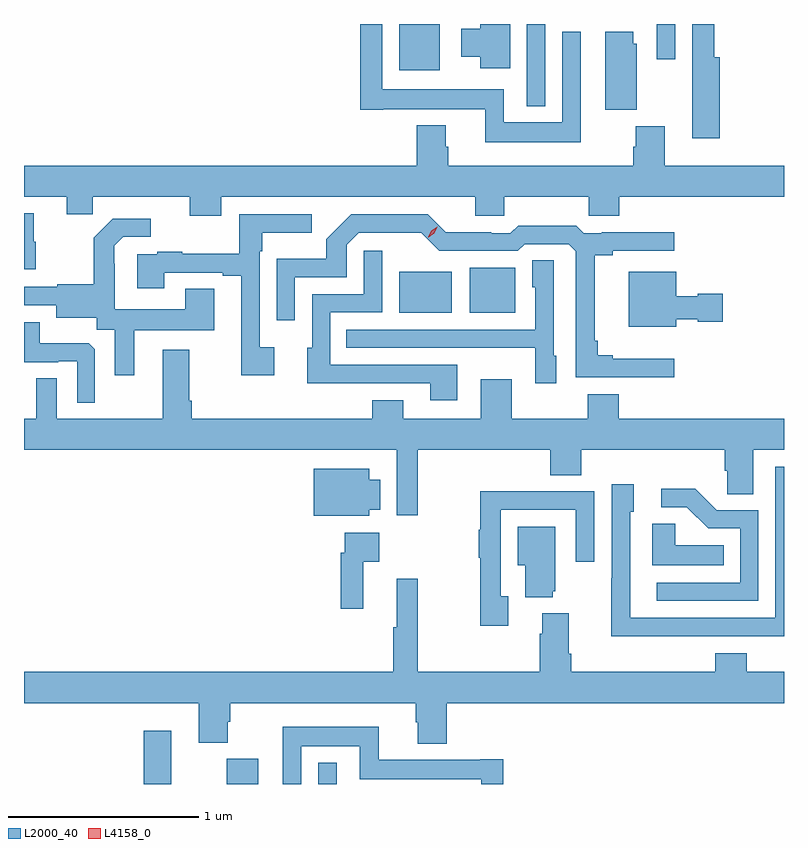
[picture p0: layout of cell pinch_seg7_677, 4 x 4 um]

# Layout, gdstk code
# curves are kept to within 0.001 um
import gdstk
lib = gdstk.Library(unit=1e-6, precision=1e-09)
def R(c, l, rs):  # rectangles x0, y0, x1, y1
    for r in rs: c.add(gdstk.rectangle(r[:2], r[2:], *l))
def P(c, l, *ps):  # polygons
    for p in ps: c.add(gdstk.Polygon(p, *l))
L2000_40 = (2000, 40)
L4158_0 = (4158, 0)

pinch_seg7_677 = lib.new_cell('pinch_seg7_677')
R(pinch_seg7_677, L2000_40, [(253.706,1028.162,253.852,1028.443), (254.144,1028.162,254.308,1028.295), (254.625,1028.162,254.721,1028.275), (255.05,1030.643,255.328,1030.858), (255.422,1030.643,255.661,1030.879), (255.723,1031.729,255.819,1032.162), (255.05,1031.918,255.265,1032.162), (256.407,1031.976,256.503,1032.162)])
P(pinch_seg7_677, L2000_40, [(256.006,1032.121),(255.909,1032.121),(255.909,1031.644),(255.6,1031.644),(255.6,1031.818),(254.961,1031.818),(254.961,1032.162),(254.845,1032.162),(254.845,1031.712),(254.968,1031.712),(254.968,1031.714),(255.503,1031.714),(255.503,1031.54),(256.006,1031.54)],
  [(256.739,1031.986),(256.709,1031.986),(256.709,1032.162),(256.593,1032.162),(256.593,1031.882),(256.592,1031.882),(256.592,1031.562),(256.739,1031.562)],
  [(255.634,1032.162),(255.476,1032.162),(255.476,1032.138),(255.377,1032.138),(255.377,1031.99),(255.476,1031.99),(255.476,1031.93),(255.634,1031.93)],
  [(256.3,1032.057),(256.282,1032.057),(256.282,1032.121),(256.136,1032.121),(256.136,1031.71),(256.3,1031.71)],
  [(254.113,1031.252),(255.452,1031.252),(255.452,1031.154),(255.603,1031.154),(255.603,1031.252),(256.048,1031.252),(256.048,1031.154),(256.208,1031.154),(256.208,1031.252),(257.076,1031.252),(257.076,1031.416),(256.448,1031.416),(256.448,1031.625),(256.295,1031.625),(256.295,1031.516),(256.283,1031.516),(256.283,1031.416),(255.308,1031.416),(255.308,1031.517),(255.295,1031.517),(255.295,1031.629),(255.143,1031.629),(255.143,1031.416),(253.076,1031.416),(253.076,1031.252),(253.301,1031.252),(253.301,1031.162),(253.439,1031.162),(253.439,1031.252),(253.949,1031.252),(253.949,1031.153),(254.113,1031.153)],
  [(253.138,1031.016),(253.126,1031.016),(253.126,1031.167),(253.076,1031.167),(253.076,1030.872),(253.138,1030.872)],
  [(256.498,1030.399),(256.174,1030.399),(256.174,1030.418),(256.097,1030.418),(256.097,1030.495),(256.079,1030.495),(256.079,1030.946),(256.174,1030.946),(256.174,1030.968),(256.498,1030.968),(256.498,1031.066),(256.117,1031.066),(256.117,1031.061),(256.023,1031.061),(255.983,1031.101),(255.676,1031.101),(255.636,1031.061),(255.536,1031.061),(255.536,1031.066),(255.296,1031.066),(255.201,1031.16),(254.798,1031.16),(254.668,1031.03),(254.668,1030.927),(254.406,1030.927),(254.406,1030.602),(254.502,1030.602),(254.502,1030.83),(254.775,1030.83),(254.775,1031.001),(254.838,1031.064),(255.167,1031.063),(255.261,1030.968),(255.675,1030.968),(255.711,1031.004),(255.942,1031.004),(255.981,1030.965),(255.981,1030.302),(256.498,1030.302)],
  [(254.392,1030.462),(254.316,1030.462),(254.316,1030.967),(254.329,1030.967),(254.329,1031.063),(254.59,1031.063),(254.59,1031.16),(254.208,1031.16),(254.208,1030.952),(253.909,1030.952),(253.909,1030.963),(253.777,1030.963),(253.777,1030.95),(253.673,1030.95),(253.673,1030.77),(253.813,1030.77),(253.813,1030.854),(254.123,1030.854),(254.123,1030.836),(254.219,1030.836),(254.219,1030.314),(254.392,1030.314)],
  [(253.657,1030.55),(254.077,1030.55),(254.077,1030.769),(253.925,1030.769),(253.925,1030.66),(253.554,1030.66),(253.554,1030.901),(253.552,1030.901),(253.552,1030.996),(253.599,1031.043),(253.744,1031.043),(253.744,1031.137),(253.543,1031.137),(253.443,1031.037),(253.443,1030.792),(253.251,1030.792),(253.251,1030.779),(253.076,1030.779),(253.076,1030.683),(253.247,1030.683),(253.247,1030.616),(253.458,1030.616),(253.458,1030.552),(253.553,1030.552),(253.553,1030.314),(253.657,1030.314)],
  [(255.355,1030.368),(254.688,1030.368),(254.688,1030.644),(254.961,1030.644),(254.961,1030.969),(254.865,1030.969),(254.865,1030.74),(254.592,1030.74),(254.592,1030.458),(254.567,1030.458),(254.567,1030.271),(254.785,1030.271),(254.785,1030.272),(255.215,1030.272),(255.215,1030.182),(255.355,1030.182)],
  [(255.877,1030.416),(255.864,1030.416),(255.864,1030.919),(255.752,1030.919),(255.752,1030.776),(255.768,1030.776),(255.768,1030.554),(254.773,1030.554),(254.773,1030.458),(255.451,1030.458),(255.451,1030.457),(255.768,1030.457),(255.768,1030.272),(255.877,1030.272)],
  [(256.51,1030.607),(256.623,1030.607),(256.623,1030.595),(256.753,1030.595),(256.753,1030.742),(256.623,1030.742),(256.623,1030.729),(256.51,1030.729),(256.51,1030.858),(256.259,1030.858),(256.259,1030.568),(256.51,1030.568)],
  [(253.449,1030.449),(253.417,1030.481),(253.159,1030.481),(253.159,1030.593),(253.076,1030.593),(253.076,1030.383),(253.256,1030.383),(253.256,1030.386),(253.356,1030.386),(253.356,1030.169),(253.449,1030.169)],
  [(255.845,1029.787),(256.01,1029.787),(256.01,1029.92),(256.763,1029.92),(256.763,1029.811),(256.776,1029.811),(256.776,1029.688),(256.915,1029.688),(256.915,1029.92),(257.076,1029.92),(257.076,1030.084),(256.207,1030.084),(256.207,1030.213),(256.043,1030.213),(256.043,1030.084),(255.643,1030.084),(255.643,1030.291),(255.479,1030.291),(255.479,1030.084),(255.073,1030.084),(255.073,1030.183),(254.909,1030.183),(254.909,1030.084),(253.958,1030.084),(253.958,1030.18),(253.945,1030.18),(253.945,1030.447),(253.805,1030.447),(253.805,1030.084),(253.248,1030.084),(253.248,1030.298),(253.14,1030.298),(253.14,1030.084),(253.076,1030.084),(253.076,1029.92),(255.039,1029.92),(255.039,1029.576),(255.148,1029.576),(255.148,1029.92),(255.845,1029.92)],
  [(256.631,1028.94),(257.076,1028.94),(257.076,1029.831),(257.031,1029.831),(257.031,1029.036),(256.266,1029.036),(256.266,1029.594),(256.285,1029.594),(256.285,1029.739),(256.17,1029.739),(256.17,1029.245),(256.168,1029.245),(256.168,1028.939),(256.631,1028.939)],
  [(254.893,1029.605),(254.95,1029.605),(254.95,1029.763),(254.893,1029.763),(254.893,1029.82),(254.6,1029.82),(254.6,1029.575),(254.893,1029.575)],
  [(256.941,1029.603),(256.722,1029.603),(256.609,1029.716),(256.431,1029.716),(256.431,1029.618),(256.565,1029.618),(256.676,1029.507),(256.845,1029.507),(256.845,1029.222),(256.407,1029.222),(256.407,1029.126),(256.941,1029.126)],
  [(255.625,1029.15),(255.585,1029.15),(255.585,1029.606),(255.981,1029.606),(255.981,1029.333),(256.077,1029.333),(256.077,1029.702),(255.761,1029.702),(255.761,1029.704),(255.477,1029.704),(255.477,1029.499),(255.469,1029.499),(255.469,1029.353),(255.477,1029.353),(255.477,1028.994),(255.625,1028.994)],
  [(256.76,1029.418),(256.503,1029.418),(256.503,1029.533),(256.382,1029.533),(256.382,1029.314),(256.76,1029.314)],
  [(255.86,1029.177),(255.871,1029.177),(255.871,1029.517),(255.674,1029.517),(255.674,1029.314),(255.713,1029.314),(255.713,1029.146),(255.86,1029.146)],
  [(254.861,1029.332),(254.947,1029.332),(254.947,1029.484),(254.763,1029.484),(254.763,1029.38),(254.743,1029.38),(254.743,1029.084),(254.861,1029.084)],
  [(255.302,1028.588),(257.076,1028.588),(257.076,1028.752),(256.88,1028.752),(256.88,1028.851),(256.715,1028.851),(256.715,1028.752),(255.956,1028.752),(255.956,1028.848),(255.943,1028.848),(255.943,1029.061),(255.803,1029.061),(255.803,1028.954),(255.791,1028.954),(255.791,1028.752),(255.148,1028.752),(255.148,1029.241),(255.038,1029.241),(255.038,1028.988),(255.019,1028.988),(255.019,1028.752),(253.076,1028.752),(253.076,1028.588),(253.997,1028.588),(253.997,1028.38),(254.149,1028.38),(254.149,1028.489),(254.162,1028.489),(254.162,1028.588),(255.137,1028.588),(255.137,1028.487),(255.149,1028.487),(255.149,1028.375),(255.302,1028.375)],
  [(254.535,1028.36),(254.844,1028.36),(254.844,1028.186),(255.483,1028.186),(255.483,1028.162),(255.599,1028.162),(255.599,1028.293),(255.476,1028.293),(255.476,1028.29),(254.942,1028.29),(254.942,1028.464),(254.438,1028.464),(254.438,1028.162),(254.535,1028.162)])
P(pinch_seg7_677, L4158_0, [(255.204,1031.04),(255.204,1031.041),(255.22,1031.074),(255.251,1031.096),(255.252,1031.096),(255.252,1031.095),(255.236,1031.061),(255.205,1031.04)])

lib.write_gds('pinch_seg7_677.gds')
